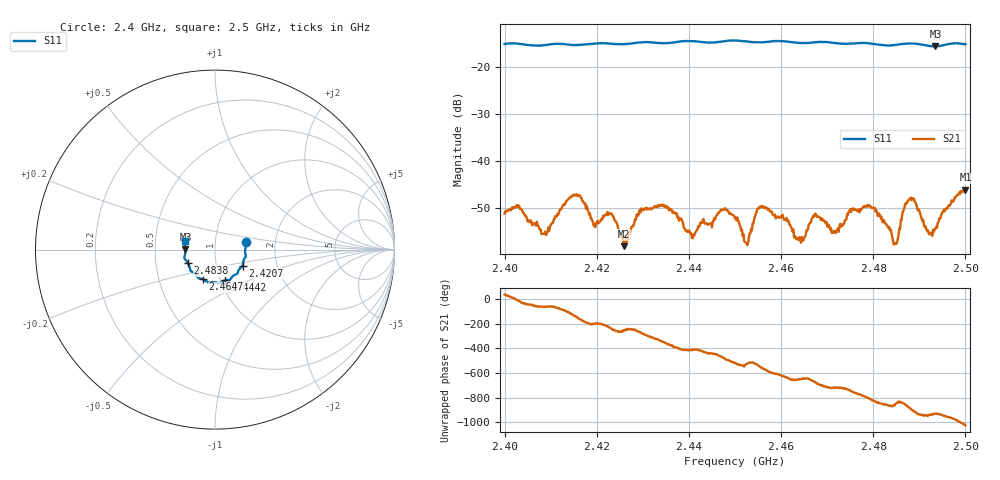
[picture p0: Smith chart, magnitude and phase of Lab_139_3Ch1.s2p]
# Hz S RI R 50
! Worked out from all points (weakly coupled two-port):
!   601 points, 2.4 GHz to 2.5 GHz, reference 50 ohm
!   highest |S21| = -46.15 dB at 2.5 GHz (marker M1); lowest = -58.1 dB at 2.4258 GHz (marker M2)
!   lowest |S11| = -15.7 dB at 2.4935 GHz (marker M3), VSWR 1.39, Z = 35.9 + j0.105 ohm
!   |S11| at or under -10 dB: start of sweep to end of sweep
!   S12 and S22 are empty: the file has one direction only
!   S11 on the Smith chart (normalised r, x): 2.4 GHz: 1.40, +0.12; 2.4207 GHz: 1.34, -0.25; 2.4442 GHz: 1.06, -0.37; 2.4647 GHz: 0.83, -0.29; 2.4838 GHz: 0.73, -0.11; 2.5 GHz: 0.71, +0.07
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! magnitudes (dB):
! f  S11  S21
! 2.4 GHz  -15.2  -51.2
! 2.4085 GHz  -15.4  -55.5
! 2.4167 GHz  -15.3  -47.9
! 2.4207 GHz  -15.0  -52.9
! 2.4232 GHz  -15.1  -51.3
! 2.4258 GHz  -15.2  -58.1
! 2.4333 GHz  -14.9  -49.4
! 2.4407 GHz  -14.5  -56.4
! 2.4442 GHz  -14.9  -53.6
! 2.45 GHz  -14.4  -52.2
! 2.4525 GHz  -14.6  -57.5
! 2.456 GHz  -14.8  -49.6
! 2.4647 GHz  -15.0  -57.0
! 2.4667 GHz  -14.8  -52.3
! 2.4715 GHz  -14.9  -54.9
! 2.4788 GHz  -15.0  -49.3
! 2.4833 GHz  -15.5  -54.3
! 2.4838 GHz  -15.5  -54.7
! 2.485 GHz  -15.3  -57.6
! 2.4883 GHz  -15.0  -48.4
! 2.4935 GHz  -15.7  -54.4
! 2.5 GHz  -15.2  -46.2
